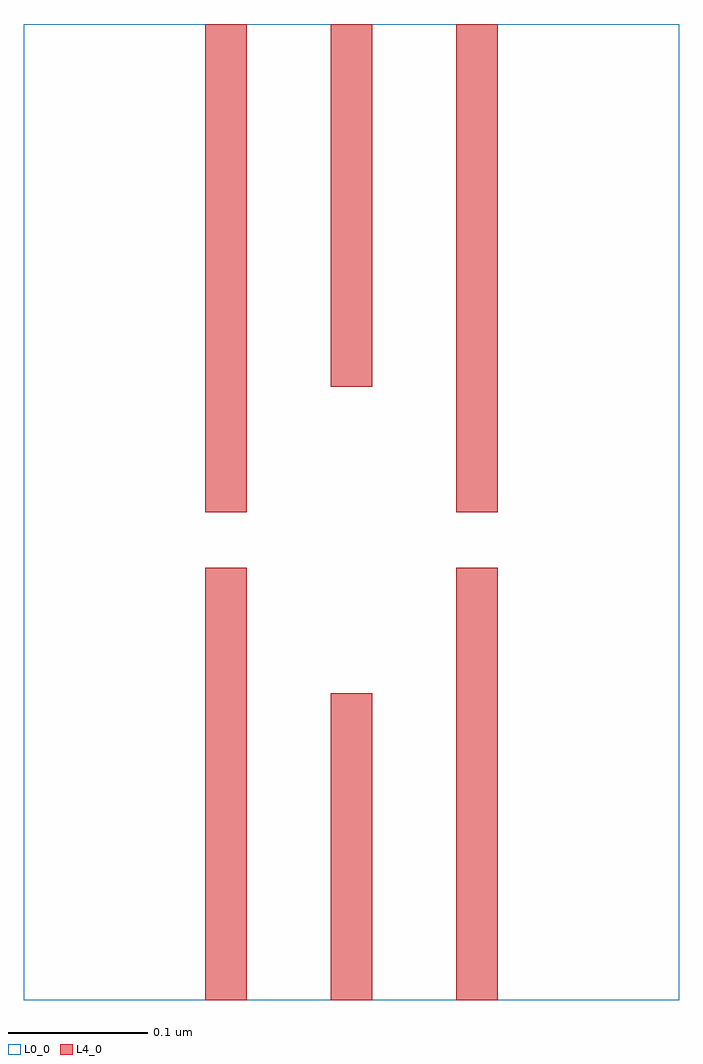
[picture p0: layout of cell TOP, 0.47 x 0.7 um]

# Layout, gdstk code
import gdstk
lib = gdstk.Library(unit=1e-6, precision=1e-09)
def R(c, l, rs):  # rectangles x0, y0, x1, y1
    for r in rs: c.add(gdstk.rectangle(r[:2], r[2:], *l))
L0_0 = (0, 0)
L4_0 = (4, 0)

top = lib.new_cell('TOP')
R(top, L0_0, [(0,0,0.47,0.7)])
R(top, L4_0, [(0.13,0,0.16,0.31), (0.22,0,0.25,0.22), (0.31,0,0.34,0.31), (0.13,0.35,0.16,0.7), (0.31,0.35,0.34,0.7), (0.22,0.44,0.25,0.7)])

lib.write_gds('TOP.gds')
